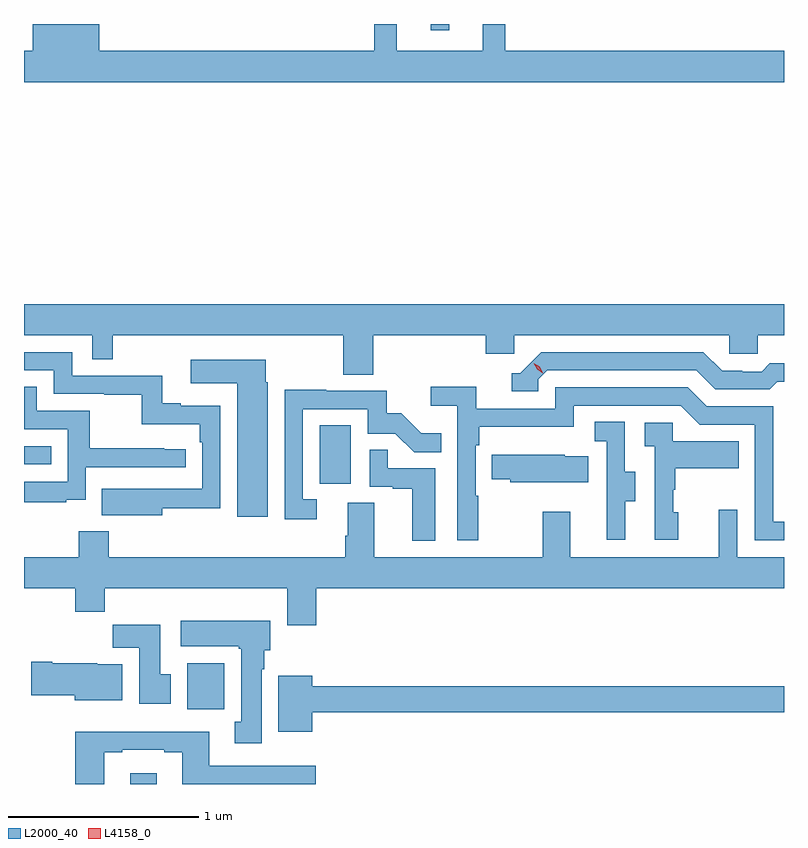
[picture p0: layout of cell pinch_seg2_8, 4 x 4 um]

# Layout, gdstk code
import gdstk
lib = gdstk.Library(unit=1e-6, precision=1e-09)
def R(c, l, rs):  # rectangles x0, y0, x1, y1
    for r in rs: c.add(gdstk.rectangle(r[:2], r[2:], *l))
def P(c, l, *ps):  # polygons
    for p in ps: c.add(gdstk.Polygon(p, *l))
L2000_40 = (2000, 40)
L4158_0 = (4158, 0)

pinch_seg2_8 = lib.new_cell('pinch_seg2_8')
R(pinch_seg2_8, L2000_40, [(1128.689,658.594,1128.829,658.651), (1128.989,658.988,1129.186,659.23), (1129.688,660.174,1129.852,660.481), (1128.131,660.276,1128.275,660.372), (1130.271,662.562,1130.368,662.594)])
P(pinch_seg2_8, L2000_40, [(1132.131,662.452),(1130.663,662.452),(1130.663,662.594),(1130.546,662.594),(1130.546,662.452),(1130.093,662.452),(1130.093,662.594),(1129.975,662.594),(1129.975,662.452),(1128.526,662.452),(1128.526,662.594),(1128.176,662.594),(1128.176,662.452),(1128.131,662.452),(1128.131,662.288),(1132.131,662.288)],
  [(1129.97,660.956),(1130.561,660.956),(1130.561,660.858),(1130.712,660.858),(1130.712,660.956),(1131.843,660.956),(1131.843,660.858),(1131.993,660.858),(1131.993,660.956),(1132.131,660.956),(1132.131,661.12),(1128.131,661.12),(1128.131,660.956),(1128.489,660.956),(1128.489,660.829),(1128.598,660.829),(1128.598,660.956),(1129.81,660.956),(1129.81,660.748),(1129.97,660.748)],
  [(1130.838,660.723),(1130.886,660.771),(1131.669,660.771),(1131.768,660.672),(1132.057,660.672),(1132.096,660.711),(1132.131,660.711),(1132.131,660.808),(1132.057,660.808),(1132.015,660.765),(1131.912,660.765),(1131.912,660.768),(1131.805,660.768),(1131.706,660.867),(1130.853,660.867),(1130.742,660.756),(1130.699,660.756),(1130.699,660.66),(1130.838,660.66)],
  [(1128.859,660.046),(1129.164,660.046),(1129.164,660.585),(1128.955,660.585),(1128.955,660.598),(1128.859,660.598),(1128.859,660.744),(1128.384,660.744),(1128.384,660.867),(1128.131,660.867),(1128.131,660.771),(1128.288,660.771),(1128.288,660.648),(1128.553,660.648),(1128.553,660.643),(1128.75,660.643),(1128.75,660.488),(1129.055,660.488),(1129.055,660.392),(1129.068,660.392),(1129.068,660.147),(1128.755,660.147),(1128.755,660.148),(1128.541,660.148),(1128.541,660.008),(1128.859,660.008)],
  [(1129.414,660.708),(1129.404,660.708),(1129.404,660.826),(1129.008,660.826),(1129.008,660.704),(1129.253,660.704),(1129.253,660),(1129.414,660)],
  [(1130.521,660.11),(1130.508,660.11),(1130.508,660.377),(1130.528,660.377),(1130.528,660.473),(1131.024,660.473),(1131.024,660.585),(1131.588,660.585),(1131.687,660.486),(1131.978,660.486),(1131.978,659.877),(1132.131,659.877),(1132.131,659.973),(1132.074,659.973),(1132.074,660.582),(1131.724,660.582),(1131.625,660.681),(1130.928,660.681),(1130.928,660.57),(1130.51,660.57),(1130.51,660.686),(1130.271,660.686),(1130.271,660.584),(1130.412,660.584),(1130.412,659.877),(1130.521,659.877)],
  [(1128.353,660.089),(1128.456,660.089),(1128.456,660.261),(1128.982,660.261),(1128.982,660.357),(1128.869,660.357),(1128.869,660.362),(1128.476,660.362),(1128.476,660.558),(1128.199,660.558),(1128.199,660.686),(1128.131,660.686),(1128.131,660.462),(1128.36,660.462),(1128.36,660.186),(1128.131,660.186),(1128.131,660.078),(1128.353,660.078)],
  [(1129.672,660.093),(1129.599,660.093),(1129.599,660.567),(1129.941,660.567),(1129.941,660.438),(1130.086,660.438),(1130.184,660.34),(1130.327,660.34),(1130.327,660.439),(1130.223,660.439),(1130.116,660.546),(1130.04,660.546),(1130.04,660.663),(1129.721,660.663),(1129.721,660.668),(1129.503,660.668),(1129.503,659.988),(1129.672,659.988)],
  [(1131.295,660.082),(1131.349,660.082),(1131.349,660.237),(1131.294,660.237),(1131.294,660.5),(1131.135,660.5),(1131.135,660.397),(1131.198,660.397),(1131.198,660.093),(1131.197,660.093),(1131.197,659.88),(1131.295,659.88)],
  [(1131.574,660.024),(1131.549,660.024),(1131.549,660.143),(1131.559,660.143),(1131.559,660.257),(1131.893,660.257),(1131.893,660.397),(1131.546,660.397),(1131.546,660.495),(1131.399,660.495),(1131.399,660.371),(1131.45,660.371),(1131.45,659.88),(1131.574,659.88)],
  [(1130.296,660.255),(1130.045,660.255),(1130.045,660.353),(1129.95,660.353),(1129.95,660.159),(1130.071,660.159),(1130.071,660.147),(1130.174,660.147),(1130.174,659.873),(1130.296,659.873)],
  [(1131.101,660.319),(1130.976,660.319),(1130.976,660.328),(1130.593,660.328),(1130.593,660.199),(1130.691,660.199),(1130.691,660.182),(1131.101,660.182)],
  [(1129.67,659.624),(1132.131,659.624),(1132.131,659.788),(1131.885,659.788),(1131.885,660.037),(1131.788,660.037),(1131.788,659.788),(1131.007,659.788),(1131.007,660.028),(1130.86,660.028),(1130.86,659.788),(1129.975,659.788),(1129.975,660.074),(1129.835,660.074),(1129.835,659.9),(1129.823,659.9),(1129.823,659.788),(1128.578,659.788),(1128.578,659.923),(1128.418,659.923),(1128.418,659.788),(1128.131,659.788),(1128.131,659.624),(1128.401,659.624),(1128.401,659.5),(1128.557,659.5),(1128.557,659.624),(1129.517,659.624),(1129.517,659.43),(1129.67,659.43)],
  [(1129.381,659.198),(1129.396,659.198),(1129.396,659.298),(1129.426,659.298),(1129.426,659.452),(1128.957,659.452),(1128.957,659.318),(1129.261,659.318),(1129.261,659.305),(1129.274,659.305),(1129.274,658.922),(1129.241,658.922),(1129.241,658.809),(1129.381,658.809)],
  [(1128.904,659.172),(1128.847,659.172),(1128.847,659.431),(1128.598,659.431),(1128.598,659.312),(1128.737,659.312),(1128.737,659.016),(1128.904,659.016)],
  [(1128.649,659.224),(1128.516,659.224),(1128.516,659.23),(1128.28,659.23),(1128.28,659.238),(1128.168,659.238),(1128.168,659.06),(1128.398,659.06),(1128.398,659.036),(1128.649,659.036)],
  [(1129.648,658.972),(1132.131,658.972),(1132.131,659.108),(1129.648,659.108),(1129.648,659.164),(1129.469,659.164),(1129.469,658.868),(1129.648,658.868)],
  [(1128.553,658.761),(1128.649,658.761),(1128.649,658.773),(1128.869,658.773),(1128.869,658.761),(1128.965,658.761),(1128.965,658.594),(1129.666,658.594),(1129.666,658.689),(1129.105,658.689),(1129.105,658.87),(1128.401,658.87),(1128.401,658.594),(1128.553,658.594)])
P(pinch_seg2_8, L4158_0, [(1130.862,660.757),(1130.831,660.776),(1130.815,660.809),(1130.815,660.809),(1130.815,660.809),(1130.846,660.79),(1130.862,660.758),(1130.862,660.757)])

lib.write_gds('pinch_seg2_8.gds')
